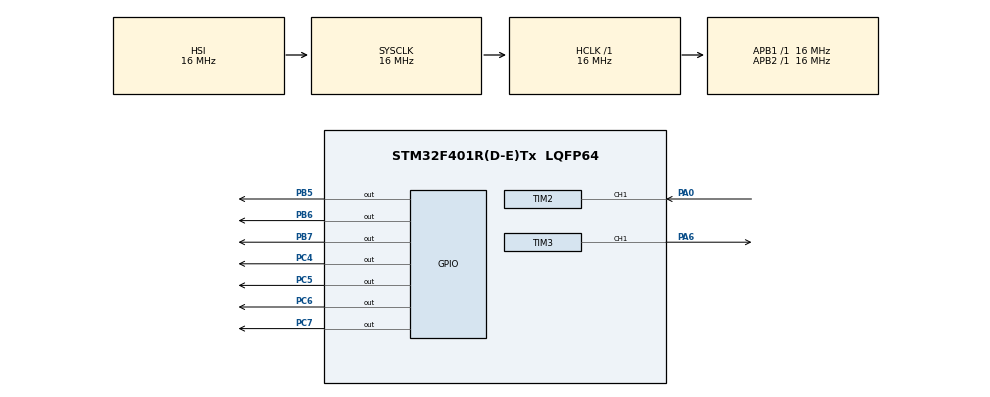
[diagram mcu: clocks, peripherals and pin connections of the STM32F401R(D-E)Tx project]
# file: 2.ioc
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Mcu.Family=STM32F4
Mcu.Name=STM32F401R(D-E)Tx
Mcu.Package=LQFP64
NVIC.PriorityGroup=NVIC_PRIORITYGROUP_4
PA0-WKUP.GPIO_PuPd=GPIO_PULLDOWN
PA0-WKUP.GPIO_Speed=GPIO_SPEED_FREQ_HIGH
PA0-WKUP.Signal=S_TIM2_CH1_ETR
PA6.Signal=S_TIM3_CH1
PB5.Signal=GPIO_Output
PB6.Signal=GPIO_Output
PB7.Signal=GPIO_Output
PC4.Signal=GPIO_Output
PC5.Signal=GPIO_Output
PC6.Signal=GPIO_Output
PC7.Signal=GPIO_Output
ProjectManager.HeapSize=0x200
ProjectManager.StackSize=0x400
ProjectManager.TargetToolchain=MDK-ARM V5.32
RCC.AHBFreq_Value=16000000
RCC.APB1Freq_Value=16000000
RCC.APB2Freq_Value=16000000
RCC.CortexFreq_Value=16000000
RCC.HSE_VALUE=25000000
RCC.HSI_VALUE=16000000
RCC.LSE_VALUE=32768
RCC.SYSCLKFreq_VALUE=16000000
RCC.VCOOutputFreq_Value=192000000
SH.S_TIM2_CH1_ETR.0=TIM2_CH1,TriggerSource_TI1FP1
SH.S_TIM3_CH1.0=TIM3_CH1,PWM Generation1 CH1
TIM2.Period=3
TIM2.Slave_TriggerFilter=15
TIM2.TIM_MasterOutputTrigger=TIM_TRGO_ENABLE
TIM2.TIM_MasterSlaveMode=TIM_MASTERSLAVEMODE_ENABLE
TIM3.Channel-PWM\ Generation1\ CH1=TIM_CHANNEL_1
TIM3.Period=1000
TIM3.Prescaler=16
TIM3.Pulse-PWM\ Generation1\ CH1=100
VP_TIM2_VS_ControllerModeClock.Mode=Clock Mode
VP_TIM3_VS_ClockSourceINT.Mode=Internal
board=custom

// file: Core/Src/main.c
/* USER CODE BEGIN Header */
/**
  ******************************************************************************
  * @file           : main.c
  * @brief          : Main program body
  ******************************************************************************
  * @attention
  *
  * Copyright (c) 2022 STMicroelectronics.
  * All rights reserved.
  *
  * This software is licensed under terms that can be found in the LICENSE file
  * in the root directory of this software component.
  * If no LICENSE file comes with this software, it is provided AS-IS.
  *
  ******************************************************************************
  */
/* USER CODE END Header */
#include "main.h"

 TIM_HandleTypeDef htim2;
TIM_HandleTypeDef htim3;

void SystemClock_Config(void);
static void MX_GPIO_Init(void);
static void MX_TIM3_Init(void);
static void MX_TIM2_Init(void);
void delayMs(int n);
void LCD_command(unsigned char command);
void LCD_data(unsigned char data);
void LCD_init(void);

/* USER CODE BEGIN 0 */
void LCD_init(void) {
    delayMs(20);            /* initialization sequence */
    LCD_command(0x30);
    delayMs(5);
    LCD_command(0x30);
    delayMs(1);
    LCD_command(0x30);
    LCD_command(0x20);
		LCD_command(0x20);
		LCD_command(0x80);
		LCD_command(0x0);
	  LCD_command(0x80);
		LCD_command(0x0);
	  LCD_command(0xc0);
    LCD_command(0x00);
    LCD_command(0x60);
	  LCD_command(0x10);
    LCD_command(0x80);
    LCD_command(0x00);
    LCD_command(0x10);
    LCD_command(0x00);
    LCD_command(0xF0);
}
void LCD_clear(){
LCD_command(0x00);
LCD_command(0x10);
}
void write(int i){
LCD_clear();
LCD_data('D');
LCD_data('U');
LCD_data('T');
LCD_data('Y');
LCD_data('C');
LCD_data('Y');
LCD_data('C');
LCD_data('L');
LCD_data('E');
LCD_data(':');
LCD_data(' ');
LCD_data('0'+i);
LCD_data('0');
LCD_data('%');
}

void delayMs(int n) {
		int j;
    int i;
    for (; n>0; n--)
        for (i = 0; i < 3195; i++) {}
}
void LCD_command(unsigned char command) {
    GPIOB->ODR &= ~(1<<6)  ;                         /* RS = 0, R/W = 0 */
	  GPIOB->ODR &= ~(1<<5)  ;
		GPIOC->BSRR = 0X00FF0000;
	  GPIOC->ODR  = command;                           /* put command on data bus */
    delayMs(0);
	  GPIOB->ODR |= (1<<7);                           /* pulse EN high */
    delayMs(0);
    GPIOB->ODR &= ~(1<<7);                             /* clear EN */

    if (command < 4)
        delayMs(2);         /* command 1 and 2 needs up to 1.64ms */
    else
        delayMs(1);         /* all others 40 us */
}

void LCD_data(unsigned char data) {
		//LCD_ready();
		char low4,high4;
		low4=data & 0x0f;
		high4=data&0xf0;
    GPIOB->ODR |= (1<<5)  ;                    /* RS = 1 */
    GPIOB->ODR &= ~(1<<6)  ;                    /* R/W = 0 */
		GPIOC->BSRR = 0X00FF0000;
		GPIOC->ODR = high4  ;                 /* put data on data bus */
    GPIOB->ODR |= (1<<7);                   /* pulse EN high */
    delayMs(0);
    GPIOB->ODR &= ~(1<<7);                   /* clear EN */
    delayMs(1);
			GPIOC->ODR = low4<<4  ;                 /* put data on data bus */
    GPIOB->ODR |= (1<<7);                   /* pulse EN high */
    delayMs(0);
    GPIOB->ODR &= ~(1<<7);                   /* clear EN */
    delayMs(1);
}

char* convertIntegerToChar(uint32_t N)
{
    int m = N;
    int digit = 0;
    while (m) {
        digit++;

        m /= 10;
    }
    char* arr;
    char arr1[digit];
    arr = (char*)malloc(digit);
    int index = 0;
    while (N) {
        arr1[++index] = N % 10 + '0';

        N /= 10;
    }
		    int i;
    for (i = 0; i < index; i++) {
        arr[i] = arr1[index - i];
    }
    arr[i] = '\0';
    return (char*)arr;
}
/* USER CODE END 0 */

int main(void)
{

  /* MCU Configuration--------------------------------------------------------*/

  /* Reset of all peripherals, Initializes the Flash interface and the Systick. */
  HAL_Init();

  /* Configure the system clock */
  SystemClock_Config();

  /* Initialize all configured peripherals */
  MX_GPIO_Init();
  MX_TIM3_Init();
  MX_TIM2_Init();
  /* USER CODE BEGIN 2 */
	HAL_TIM_Base_Start_IT(&htim2);
	HAL_TIM_PWM_Start(&htim3,TIM_CHANNEL_1);

	int counter = 0;
	LCD_init();
  /* USER CODE END 2 */
htim3.Instance->CCR1 = 1000*0.1;
write(1);
  /* Infinite loop */
  /* USER CODE BEGIN WHILE */
	int count=0;
  while (1)
  {
			while(count ==__HAL_TIM_GetCounter(&htim2));
			count=__HAL_TIM_GetCounter(&htim2);
		  if (count==0){
			htim3.Instance->CCR1 = 1000*0.1;
			write(1);
}
			if (count==1){
			htim3.Instance->CCR1 = 1000*0.3;
			write(3);
}
			if (count==2){
			htim3.Instance->CCR1 = 1000*0.5;
			write(5);
}
			if (count==3){
			htim3.Instance->CCR1 = 1000*0.9;
			write(9);
}

    /* USER CODE END WHILE *
  }
}

void SystemClock_Config(void)
{
  RCC_OscInitTypeDef RCC_OscInitStruct = {0};
  RCC_ClkInitTypeDef RCC_ClkInitStruct = {0};

  /** Configure the main internal regulator output voltage
  */
  __HAL_RCC_PWR_CLK_ENABLE();
  __HAL_PWR_VOLTAGESCALING_CONFIG(PWR_REGULATOR_VOLTAGE_SCALE2);

  /** Initializes the RCC Oscillators according to the specified parameters
  * in the RCC_OscInitTypeDef structure.
  */
  RCC_OscInitStruct.OscillatorType = RCC_OSCILLATORTYPE_HSI;
  RCC_OscInitStruct.HSIState = RCC_HSI_ON;
  RCC_OscInitStruct.HSICalibrationValue = RCC_HSICALIBRATION_DEFAULT;
  RCC_OscInitStruct.PLL.PLLState = RCC_PLL_NONE;
  if (HAL_RCC_OscConfig(&RCC_OscInitStruct) != HAL_OK)
  {
    Error_Handler();
  }

  /** Initializes the CPU, AHB and APB buses clocks
  */
  RCC_ClkInitStruct.ClockType = RCC_CLOCKTYPE_HCLK|RCC_CLOCKTYPE_SYSCLK
                              |RCC_CLOCKTYPE_PCLK1|RCC_CLOCKTYPE_PCLK2;
  RCC_ClkInitStruct.SYSCLKSource = RCC_SYSCLKSOURCE_HSI;
  RCC_ClkInitStruct.AHBCLKDivider = RCC_SYSCLK_DIV1;
  RCC_ClkInitStruct.APB1CLKDivider = RCC_HCLK_DIV1;
  RCC_ClkInitStruct.APB2CLKDivider = RCC_HCLK_DIV1;

  if (HAL_RCC_ClockConfig(&RCC_ClkInitStruct, FLASH_LATENCY_0) != HAL_OK)
  {
    Error_Handler();
  }
}

static void MX_TIM2_Init(void)
{

  TIM_SlaveConfigTypeDef sSlaveConfig = {0};
  TIM_MasterConfigTypeDef sMasterConfig = {0};

  htim2.Instance = TIM2;
  htim2.Init.Prescaler = 0;
  htim2.Init.CounterMode = TIM_COUNTERMODE_UP;
  htim2.Init.Period = 3;
  htim2.Init.ClockDivision = TIM_CLOCKDIVISION_DIV1;
  htim2.Init.AutoReloadPreload = TIM_AUTORELOAD_PRELOAD_DISABLE;
  if (HAL_TIM_Base_Init(&htim2) != HAL_OK)
  {
    Error_Handler();
  }
  sSlaveConfig.SlaveMode = TIM_SLAVEMODE_EXTERNAL1;
  sSlaveConfig.InputTrigger = TIM_TS_TI1FP1;
  sSlaveConfig.TriggerPolarity = TIM_TRIGGERPOLARITY_RISING;
  sSlaveConfig.TriggerFilter = 15;
  if (HAL_TIM_SlaveConfigSynchro(&htim2, &sSlaveConfig) != HAL_OK)
  {
    Error_Handler();
  }
  sMasterConfig.MasterOutputTrigger = TIM_TRGO_ENABLE;
  sMasterConfig.MasterSlaveMode = TIM_MASTERSLAVEMODE_ENABLE;
  if (HAL_TIMEx_MasterConfigSynchronization(&htim2, &sMasterConfig) != HAL_OK)
  {
    Error_Handler();
  }

}

static void MX_TIM3_Init(void)
{

  TIM_ClockConfigTypeDef sClockSourceConfig = {0};
  TIM_MasterConfigTypeDef sMasterConfig = {0};
  TIM_OC_InitTypeDef sConfigOC = {0};

  htim3.Instance = TIM3;
  htim3.Init.Prescaler = 16;
  htim3.Init.CounterMode = TIM_COUNTERMODE_UP;
  htim3.Init.Period = 1000;
  htim3.Init.ClockDivision = TIM_CLOCKDIVISION_DIV1;
  htim3.Init.AutoReloadPreload = TIM_AUTORELOAD_PRELOAD_DISABLE;
  if (HAL_TIM_Base_Init(&htim3) != HAL_OK)
  {
    Error_Handler();
  }
  sClockSourceConfig.ClockSource = TIM_CLOCKSOURCE_INTERNAL;
  if (HAL_TIM_ConfigClockSource(&htim3, &sClockSourceConfig) != HAL_OK)
  {
    Error_Handler();
  }
  if (HAL_TIM_PWM_Init(&htim3) != HAL_OK)
  {
    Error_Handler();
  }
  sMasterConfig.MasterOutputTrigger = TIM_TRGO_RESET;
  sMasterConfig.MasterSlaveMode = TIM_MASTERSLAVEMODE_DISABLE;
  if (HAL_TIMEx_MasterConfigSynchronization(&htim3, &sMasterConfig) != HAL_OK)
  {
    Error_Handler();
  }
  sConfigOC.OCMode = TIM_OCMODE_PWM1;
  sConfigOC.Pulse = 100;
  sConfigOC.OCPolarity = TIM_OCPOLARITY_HIGH;
  sConfigOC.OCFastMode = TIM_OCFAST_DISABLE;
  if (HAL_TIM_PWM_ConfigChannel(&htim3, &sConfigOC, TIM_CHANNEL_1) != HAL_OK)
  {
    Error_Handler();
  }
  HAL_TIM_MspPostInit(&htim3);

}

static void MX_GPIO_Init(void)
{
  GPIO_InitTypeDef GPIO_InitStruct = {0};

  /* GPIO Ports Clock Enable */
  __HAL_RCC_GPIOA_CLK_ENABLE();
  __HAL_RCC_GPIOC_CLK_ENABLE();
  __HAL_RCC_GPIOB_CLK_ENABLE();

  /*Configure GPIO pin Output Level */
  HAL_GPIO_WritePin(GPIOC, GPIO_PIN_4|GPIO_PIN_5|GPIO_PIN_6|GPIO_PIN_7, GPIO_PIN_RESET);

  /*Configure GPIO pin Output Level */
  HAL_GPIO_WritePin(GPIOB, GPIO_PIN_5|GPIO_PIN_6|GPIO_PIN_7, GPIO_PIN_RESET);

  /*Configure GPIO pins : PC4 PC5 PC6 PC7 */
  GPIO_InitStruct.Pin = GPIO_PIN_4|GPIO_PIN_5|GPIO_PIN_6|GPIO_PIN_7;
  GPIO_InitStruct.Mode = GPIO_MODE_OUTPUT_PP;
  GPIO_InitStruct.Pull = GPIO_NOPULL;
  GPIO_InitStruct.Speed = GPIO_SPEED_FREQ_LOW;
  HAL_GPIO_Init(GPIOC, &GPIO_InitStruct);

  /*Configure GPIO pins : PB5 PB6 PB7 */
  GPIO_InitStruct.Pin = GPIO_PIN_5|GPIO_PIN_6|GPIO_PIN_7;
  GPIO_InitStruct.Mode = GPIO_MODE_OUTPUT_PP;
  GPIO_InitStruct.Pull = GPIO_NOPULL;
  GPIO_InitStruct.Speed = GPIO_SPEED_FREQ_LOW;
  HAL_GPIO_Init(GPIOB, &GPIO_InitStruct);

}

void Error_Handler(void)
{
  __disable_irq();
  while (1)
  {
  }
}
